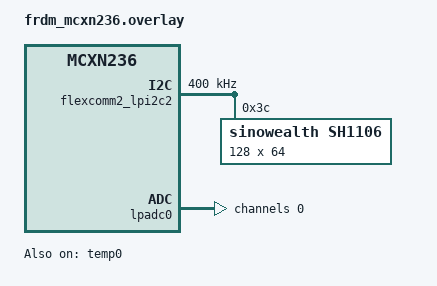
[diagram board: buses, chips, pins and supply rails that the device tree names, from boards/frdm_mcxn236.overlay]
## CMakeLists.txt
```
cmake_minimum_required(VERSION 3.20.0)

# Pull in the Zephyr build system
find_package(Zephyr REQUIRED HINTS $ENV{ZEPHYR_BASE})

project(oled_interactive_menu)

# Export compile commands for clangd (Neovim)
set(CMAKE_EXPORT_COMPILE_COMMANDS ON)

target_sources(app PRIVATE src/main.c src/display_hal.c)
```

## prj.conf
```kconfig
# System and Logging
CONFIG_LOG=y
CONFIG_LOG_DEFAULT_LEVEL=3
CONFIG_MAIN_STACK_SIZE=4096

# Display Subsystem
CONFIG_I2C=y
CONFIG_DISPLAY=y
CONFIG_SSD1306=y
CONFIG_CHARACTER_FRAMEBUFFER=y
CONFIG_HEAP_MEM_POOL_SIZE=16384

# Sensor and ADC Subsystem
CONFIG_ADC=y
CONFIG_SENSOR=y
CONFIG_CBPRINTF_FP_SUPPORT=y

# GPIO Subsystem (For the Button)
CONFIG_GPIO=y
```

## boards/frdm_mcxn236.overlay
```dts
#include <zephyr/dt-bindings/adc/adc.h>
#include <zephyr/dt-bindings/adc/mcux-lpadc.h>

/ {
    aliases {
        die-temp0 = &temp0;
    };
};

/* I2C Bus for the Display */
&flexcomm2_lpi2c2 {
    status = "okay";
    clock-frequency = <I2C_BITRATE_FAST>;

    sh1106: sh1106@3c {
        compatible = "sinowealth,sh1106";
        reg = <0x3c>;
        width = <128>;
        height = <64>;
        segment-offset = <2>;
        page-offset = <0>;
        display-offset = <0>;
        multiplex-ratio = <63>;
        segment-remap;
        com-invdir;
        prechargep = <0x22>;
    };
};

/* ADC and Temperature Sensor Nodes */
&lpadc0 {
    status = "okay";
    #address-cells = <1>;
    #size-cells = <0>;

    channel@0 {
        reg = <0>;
        zephyr,gain = "ADC_GAIN_1";
        zephyr,vref-mv = <3300>; 
        zephyr,reference = "ADC_REF_EXTERNAL0";
        zephyr,acquisition-time = <ADC_ACQ_TIME(ADC_ACQ_TIME_TICKS, 131)>;
        zephyr,oversampling = <4>; 
        zephyr,input-positive = <MCUX_LPADC_CH26A>;
        zephyr,resolution = <16>;
    };
};

&temp0 {
    status = "okay";
    io-channels = <&lpadc0 0>;
};
```

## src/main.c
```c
#include <zephyr/kernel.h>
#include <zephyr/device.h>
#include <zephyr/drivers/gpio.h>
#include <zephyr/drivers/sensor.h>
#include <zephyr/logging/log.h>
#include <stdio.h>
#include "display_hal.h"

LOG_MODULE_REGISTER(menu_system, LOG_LEVEL_INF);

#define SW0_NODE    DT_ALIAS(sw0)
static const struct gpio_dt_spec button = GPIO_DT_SPEC_GET_OR(SW0_NODE, gpios, {0});
static struct gpio_callback button_cb_data;

/* State Machine */
volatile uint8_t current_screen = 0;
#define TOTAL_SCREENS 2

/* Button Debounce variables */
static int64_t last_button_press_time = 0;

// ISR 
void button_pressed(const struct device *dev, struct gpio_callback *cb, uint32_t pins) {
  int64_t now = k_uptime_get();

  /* Ignore the press if it happened within 250ms of the last one */
  if (now - last_button_press_time < 250) {
    return;
  }

  last_button_press_time = now;

  current_screen++;
  if (current_screen >= TOTAL_SCREENS) {
    current_screen = 0;
  }

  LOG_INF("Button Pressed, switched to screen %d", current_screen);
}

int main(void)
{
  LOG_INF("Starting interactive menu");

  if (display_hal_init() != 0) return -1;

  if (!gpio_is_ready_dt(&button)) {
    LOG_ERR("Button is not ready");
    return -1;
  }

  gpio_pin_configure_dt(&button, GPIO_INPUT);
  gpio_pin_interrupt_configure_dt(&button, GPIO_INT_EDGE_TO_ACTIVE);
  gpio_init_callback(&button_cb_data, button_pressed, BIT(button.pin));
  gpio_add_callback(button.port, &button_cb_data);

  const struct device *const die_temp = DEVICE_DT_GET(DT_ALIAS(die_temp0));
  if (!device_is_ready(die_temp)) return -1;

  char buffer[32];

  while (1) {
    display_hal_clear();

    // Draw a UI divider for all screens
    display_hal_draw_divider();

    switch (current_screen) {
      case 0:
        /* SCREEN 0: System Uptime */
        display_hal_set_font_size(24);
        display_hal_print("UPTIME", 0, 0);
        
        uint32_t uptime_s = k_uptime_get_32() / 1000;
        uint8_t hours = uptime_s / 3600;
        uint8_t mins = (uptime_s % 3600) / 60;
        uint8_t secs = uptime_s % 60;

        snprintf(buffer, sizeof(buffer), "%02d:%02d:%02d", hours, mins, secs);
        display_hal_set_font_size(16);
        display_hal_print(buffer, 0, 35);
        break;

      case 1: 
        display_hal_set_font_size(24);
        display_hal_print("DIE TEMP", 0, 0);
        
        struct sensor_value silicon_temperature;
        if (sensor_sample_fetch(die_temp) == 0) {
          sensor_channel_get(die_temp, SENSOR_CHAN_DIE_TEMP, &silicon_temperature);
          double temp_c = sensor_value_to_double(&silicon_temperature);
          snprintf(buffer, sizeof(buffer), "%.2f C", temp_c);
        } else {
          snprintf(buffer, sizeof(buffer), "ERROR");
        }
        
        display_hal_set_font_size(16);
        display_hal_print(buffer, 0, 35);
        break;
    }

    display_hal_finalize();
    k_msleep(100);
  }

  return 0;
}
```

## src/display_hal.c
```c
#include "display_hal.h"
#include <zephyr/device.h>
#include <zephyr/drivers/display.h>
#include <zephyr/display/cfb.h>
#include <zephyr/logging/log.h>

LOG_MODULE_REGISTER(display_hal, LOG_LEVEL_INF);

static const struct device *display_dev = DEVICE_DT_GET(DT_NODELABEL(sh1106));

int display_hal_init(void) {
  if (!device_is_ready(display_dev)) {
    LOG_ERR("Display is not ready");
    return -ENODEV;
  }

  if (display_set_pixel_format(display_dev, PIXEL_FORMAT_MONO10) != 0) {
    if (display_set_pixel_format(display_dev, PIXEL_FORMAT_MONO01) != 0) {
      LOG_ERR("Failed to set required pixel format");
      return -ENOTSUP;
    }
  }

  if (cfb_framebuffer_init(display_dev)) {
    LOG_ERR("Frame buffer initialization failed");
    return -EIO;
  }

  display_hal_clear();
  display_blanking_off(display_dev);

  /* Set a default fallback font upon initialization */
  cfb_framebuffer_set_font(display_dev, 0);

  return 0;
}

void display_hal_set_font_size(uint8_t target_height) {
  if (display_dev == NULL) return;

  uint8_t num_fonts = cfb_get_numof_fonts(display_dev);
  uint8_t f_width, f_height;

  for (int i = 0; i < num_fonts; i++) {
    cfb_get_font_size(display_dev, i, &f_width, &f_height);

    if (f_height == target_height) {
      cfb_framebuffer_set_font(display_dev, i);
      LOG_INF("Font changed successfully to %dx%d", f_width, f_height);
      return;
    }
  }

  LOG_ERR("Requested font size %d not found in compiled fonts!", target_height);
}

void display_hal_clear() {
  if (display_dev != NULL) {
    cfb_framebuffer_clear(display_dev, false);
  }
}

void display_hal_finalize() {
  if (display_dev != NULL) {
    cfb_framebuffer_finalize(display_dev);
  }
}

void display_hal_print(const char *text, uint8_t x, uint8_t y) {
  if (display_dev != NULL) {
    cfb_print(display_dev, text, x, y);
  }
}

void display_hal_draw_divider() {
  struct cfb_position start = {0, 26};
  struct cfb_position end = {128, 26};
  cfb_draw_line(display_dev, &start, &end);
}
```

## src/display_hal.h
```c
#ifndef DISPLAY_HAL_H
#define DISPLAY_HAL_H

#include <stdint.h>

/* Initialize the display and the framebuffer */
int display_hal_init(void);

/* Clears the display, writes text at (x, y) and pushes the frame */
void display_hal_print(const char *text, uint8_t x, uint8_t y);

/* Set font size */
void display_hal_set_font_size(uint8_t target_height);

void display_hal_clear(void);

void display_hal_finalize(void);

void display_hal_draw_divider(void);

#endif // !DISPLAY_HAL_H
```
